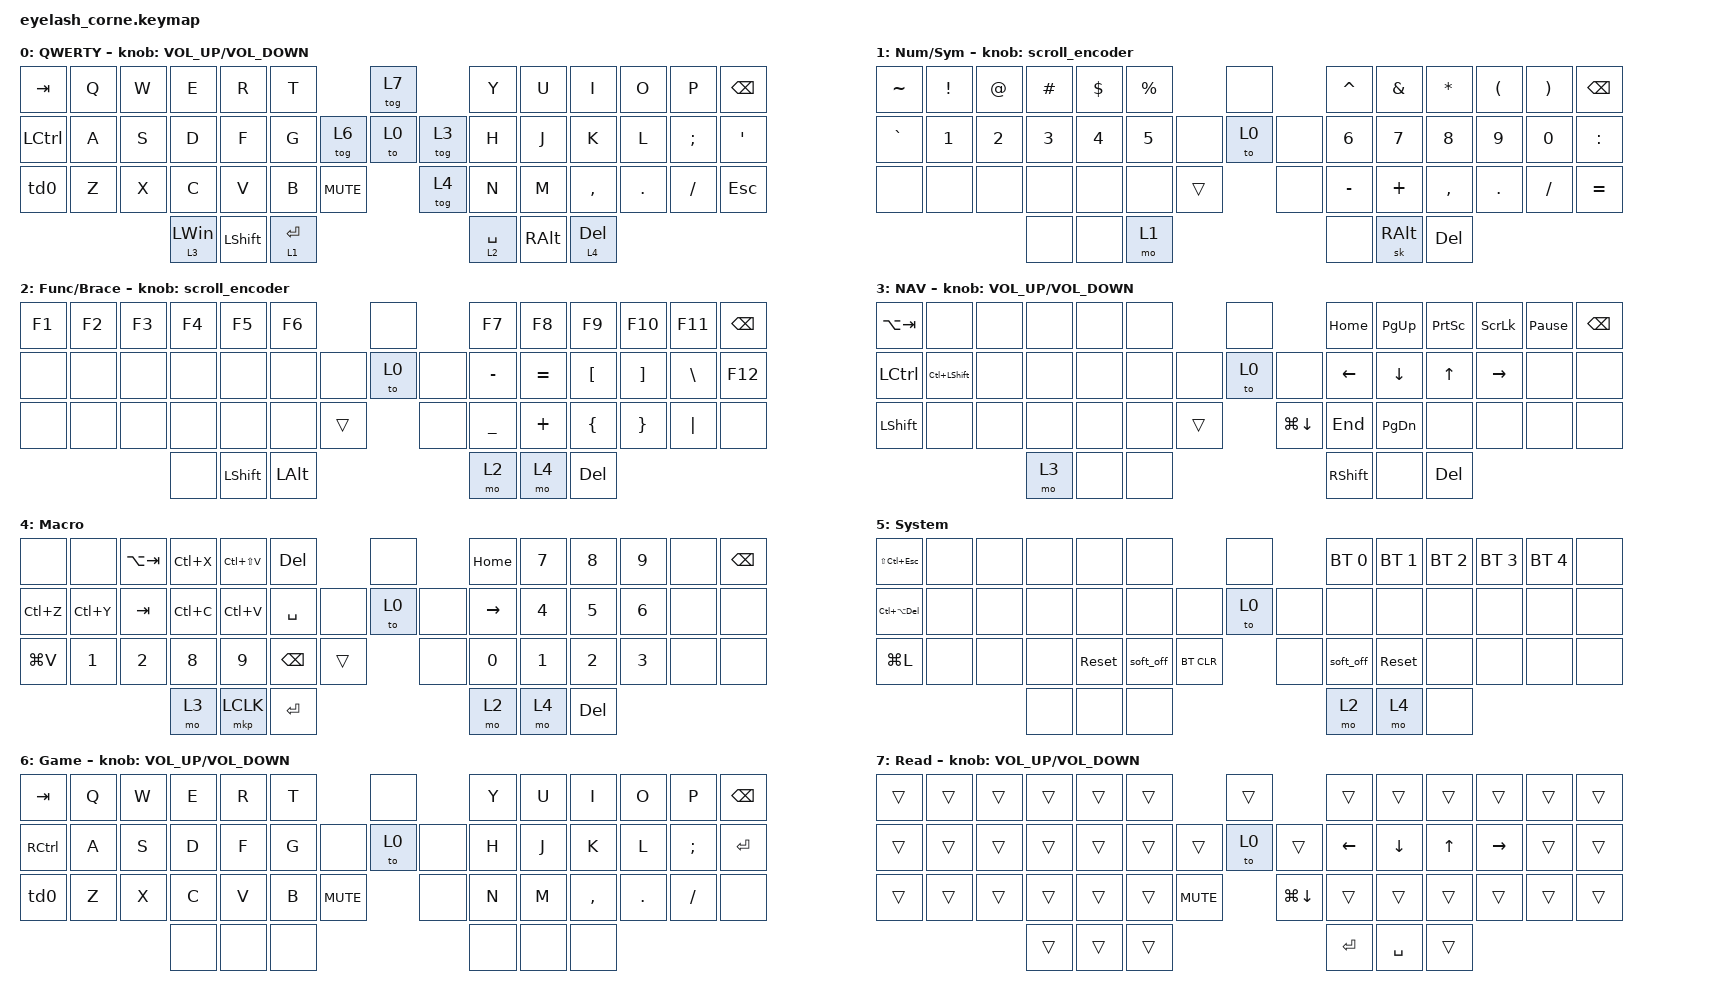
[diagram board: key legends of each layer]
#define ZMK_POINTING_DEFAULT_MOVE_VAL 1200  // 600
#define ZMK_POINTING_DEFAULT_SCRL_VAL 25   // 10

#include <input/processors.dtsi>
#include <zephyr/dt-bindings/input/input-event-codes.h>
#include <behaviors.dtsi>
#include <dt-bindings/zmk/bt.h>
#include <dt-bindings/zmk/keys.h>
#include <dt-bindings/zmk/pointing.h>
#include <dt-bindings/zmk/rgb.h>

&mmv_input_listener { input-processors = <&zip_xy_scaler 2 1>; };

&msc_input_listener { input-processors = <&zip_scroll_scaler 2 1>; };

&msc {
    acceleration-exponent = <1>;      // 0
    time-to-max-speed-ms = <100>;       // 300
    delay-ms = <0>;                   // 0
};

&mmv {
    time-to-max-speed-ms = <500>;
    acceleration-exponent = <1>;
    trigger-period-ms = <16>;
};

/ {
    behaviors {
        td0: td0 {
            compatible = "zmk,behavior-tap-dance";
            display-name = "Shift/Caps Lock Tap Dance";
            #binding-cells = <0>;
            bindings = <&kp LEFT_SHIFT>, <&kp CAPS>;

            label = "Shift/Caps";
        };
    };

    rgb_encoder: rgb_encoder {
        compatible = "zmk,behavior-sensor-rotate";
        #sensor-binding-cells = <0>;
        bindings = <&rgb_ug RGB_BRI>, <&rgb_ug RGB_BRD>;
    };

    scroll_encoder: scroll_encoder {
        compatible = "zmk,behavior-sensor-rotate";
        #sensor-binding-cells = <0>;
        bindings = <&msc SCRL_DOWN>, <&msc SCRL_UP>;

        tap-ms = <100>;
    };

    combos { compatible = "zmk,combos"; };

    keymap {
        compatible = "zmk,keymap";

        default_layer {
            display-name = "QWERTY";
            bindings = <
&kp TAB    &kp Q  &kp W  &kp E           &kp R           &kp T                            &tog 7          &kp Y        &kp U          &kp I      &kp O    &kp P     &kp BSPC
&kp LCTRL  &kp A  &kp S  &kp D           &kp F           &kp G                    &tog 6  &to 0   &tog 3  &kp H        &kp J          &kp K      &kp L    &kp SEMI  &kp SQT
&td0       &kp Z  &kp X  &kp C           &kp V           &kp B      &kp C_MUTE            &tog 4          &kp N        &kp M          &kp COMMA  &kp DOT  &kp FSLH  &kp ESC
                         &lt 3 LEFT_WIN  &kp LEFT_SHIFT  &lt 1 RET                                        &lt 2 SPACE  &kp RIGHT_ALT  &lt 4 DEL
            >;

            sensor-bindings = <&inc_dec_kp C_VOLUME_UP C_VOLUME_DOWN>;
        };

        lower_layer {
            display-name = "Num/Sym";
            bindings = <
&kp TILDE  &kp EXCLAMATION  &kp AT_SIGN  &kp POUND  &kp DOLLAR  &kp PERCENT                   &none         &kp CARET  &kp AMPERSAND  &kp ASTERISK  &kp LEFT_PARENTHESIS  &kp RIGHT_PARENTHESIS  &kp BACKSPACE
&kp GRAVE  &kp N1           &kp N2       &kp N3     &kp N4      &kp N5                 &none  &to 0  &none  &kp N6     &kp N7         &kp N8        &kp N9                &kp N0                 &kp COLON
&none      &none            &none        &none      &none       &none        &trans           &none         &kp MINUS  &kp PLUS       &kp COMMA     &kp DOT               &kp FSLH               &kp EQUAL
                                         &none      &none       &mo 1                                       &none      &sk RIGHT_ALT  &kp DELETE
            >;

            sensor-bindings = <&scroll_encoder>;
        };

        raise_layer {
            display-name = "Func/Brace";
            bindings = <
&kp F1  &kp F2  &kp F3  &kp F4  &kp F5          &kp F6                         &none         &kp F7     &kp F8     &kp F9      &kp F10   &kp F11   &kp BACKSPACE
&none   &none   &none   &none   &none           &none                   &none  &to 0  &none  &kp MINUS  &kp EQUAL  &kp LBKT    &kp RBKT  &kp BSLH  &kp F12
&none   &none   &none   &none   &none           &none         &trans           &none         &kp UNDER  &kp PLUS   &kp LBRC    &kp RBRC  &kp PIPE  &none
                        &none   &kp LEFT_SHIFT  &kp LEFT_ALT                                 &mo 2      &mo 4      &kp DELETE
            >;

            sensor-bindings = <&scroll_encoder>;
        };

        Navigation {
            bindings = <
&kp LA(TAB)     &none               &none  &none  &none  &none                   &none                      &kp HOME         &kp PAGE_UP    &kp PRINTSCREEN  &kp SCROLLLOCK  &kp PAUSE_BREAK  &kp BACKSPACE
&kp LCTRL       &kp LC(LEFT_SHIFT)  &none  &none  &none  &none            &none  &to 0               &none  &kp LEFT_ARROW   &kp DOWN       &kp UP           &kp RIGHT       &none            &none
&kp LEFT_SHIFT  &none               &none  &none  &none  &none  &trans           &kp LG(DOWN_ARROW)         &kp END          &kp PAGE_DOWN  &none            &none           &none            &none
                                           &mo 3  &none  &none                                              &kp RIGHT_SHIFT  &none          &kp DELETE
            >;

            label = "NAV";
            sensor-bindings = <&inc_dec_kp C_VOLUME_UP C_VOLUME_DOWN>;
        };

        Macro {
            bindings = <
&none      &none      &kp LA(TAB)  &kp LC(X)  &kp LC(LS(V))  &kp DELETE                   &none         &kp HOME   &kp N7  &kp N8      &kp N9  &none  &kp BACKSPACE
&kp LC(Z)  &kp LC(Y)  &kp TAB      &kp LC(C)  &kp LC(V)      &kp SPACE             &none  &to 0  &none  &kp RIGHT  &kp N4  &kp N5      &kp N6  &none  &none
&kp LG(V)  &kp N1     &kp N2       &kp N8     &kp N9         &kp BSPC    &trans           &none         &kp N0     &kp N1  &kp N2      &kp N3  &none  &none
                                   &mo 3      &mkp LCLK      &kp RETURN                                 &mo 2      &mo 4   &kp DELETE
            >;

            label = "Macro";
        };

        System {
            bindings = <
&kp LS(LC(ESCAPE))  &none  &none  &none  &none       &none                           &none         &bt BT_SEL 0  &bt BT_SEL 1  &bt BT_SEL 2  &bt BT_SEL 3  &bt BT_SEL 4  &none
&kp LC(LA(DELETE))  &none  &none  &none  &none       &none                    &none  &to 0  &none  &none         &none         &none         &none         &none         &none
&kp LG(L)           &none  &none  &none  &sys_reset  &soft_off  &bt BT_CLR           &none         &soft_off     &sys_reset    &none         &none         &none         &none
                                  &none  &none       &none                                         &mo 2         &mo 4         &none
            >;

            label = "System";
        };

        Game {
            bindings = <
&kp TAB    &kp Q  &kp W  &kp E  &kp R  &kp T                       &none         &kp Y  &kp U  &kp I      &kp O    &kp P     &kp BSPC
&kp RCTRL  &kp A  &kp S  &kp D  &kp F  &kp G                &none  &to 0  &none  &kp H  &kp J  &kp K      &kp L    &kp SEMI  &kp RET
&td0       &kp Z  &kp X  &kp C  &kp V  &kp B  &kp C_MUTE           &none         &kp N  &kp M  &kp COMMA  &kp DOT  &kp FSLH  &none
                         &none  &none  &none                                     &none  &none  &none
            >;

            label = "Game";
            sensor-bindings = <&inc_dec_kp C_VOLUME_UP C_VOLUME_DOWN>;
        };

        Read {
            bindings = <
&trans  &trans  &trans  &trans  &trans  &trans                        &trans                      &trans          &trans          &trans        &trans           &trans  &trans
&trans  &trans  &trans  &trans  &trans  &trans                &trans  &to 0               &trans  &kp LEFT_ARROW  &kp DOWN_ARROW  &kp UP_ARROW  &kp RIGHT_ARROW  &trans  &trans
&trans  &trans  &trans  &trans  &trans  &trans  &kp C_MUTE            &kp LG(DOWN_ARROW)          &trans          &trans          &trans        &trans           &trans  &trans
                        &trans  &trans  &trans                                                    &kp ENTER       &kp SPACE       &trans
            >;

            label = "Read";
            sensor-bindings = <&inc_dec_kp C_VOLUME_UP C_VOLUME_DOWN>;
        };
    };

    conditional_layers {
        compatible = "zmk,conditional-layers";

        Sytem {
            if-layers = <2 4>;
            then-layer = <5>;
        };
    };
};
